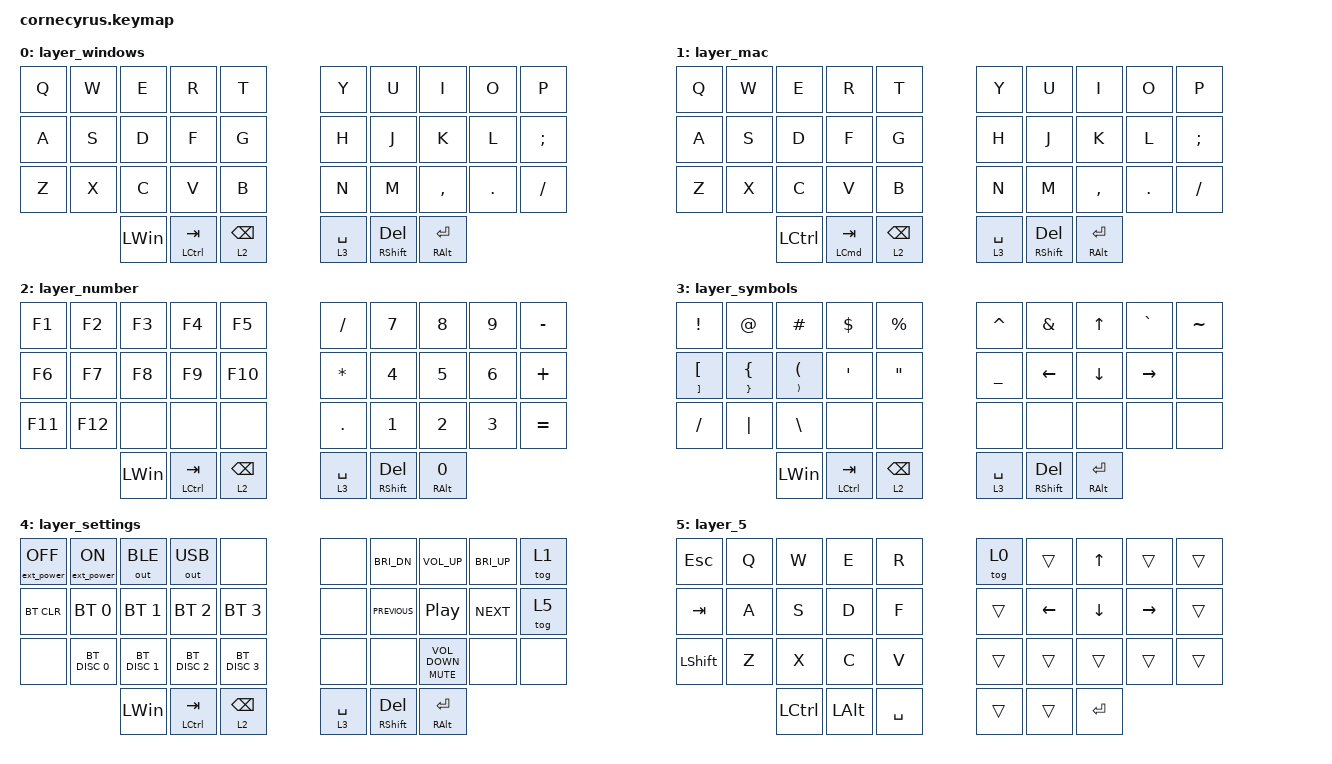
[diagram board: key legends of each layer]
#include <behaviors.dtsi>
#include <dt-bindings/zmk/bt.h>
#include <dt-bindings/zmk/ext_power.h>
#include <dt-bindings/zmk/keys.h>
#include <dt-bindings/zmk/outputs.h>

/ {
    combos {
        compatible = "zmk,combos";

        layer3andescape {
            bindings = <&lt 4 ESCAPE>;
            key-positions = <32 33>;
        };

        shift {
            bindings = <&kp LEFT_SHIFT>;
            key-positions = <31 32>;
        };
    };

    keymap {
        compatible = "zmk,keymap";

        layer_windows {
            bindings = <
&kp Q  &kp W  &kp E         &kp R                 &kp T              &kp Y        &kp U                   &kp I                &kp O    &kp P
&kp A  &kp S  &kp D         &kp F                 &kp G              &kp H        &kp J                   &kp K                &kp L    &kp SEMI
&kp Z  &kp X  &kp C         &kp V                 &kp B              &kp N        &kp M                   &kp COMMA            &kp DOT  &kp FSLH
              &kp LEFT_WIN  &mt LEFT_CONTROL TAB  &lt 2 BACKSPACE    &lt 3 SPACE  &mt RIGHT_SHIFT DELETE  &mt RIGHT_ALT ENTER
            >;
        };

        layer_mac {
            bindings = <
&kp Q  &kp W  &kp E             &kp R                 &kp T              &kp Y        &kp U                   &kp I                &kp O    &kp P
&kp A  &kp S  &kp D             &kp F                 &kp G              &kp H        &kp J                   &kp K                &kp L    &kp SEMI
&kp Z  &kp X  &kp C             &kp V                 &kp B              &kp N        &kp M                   &kp COMMA            &kp DOT  &kp FSLH
              &kp LEFT_CONTROL  &mt LEFT_COMMAND TAB  &lt 2 BACKSPACE    &lt 3 SPACE  &mt RIGHT_SHIFT DELETE  &mt RIGHT_ALT ENTER
            >;
        };

        layer_number {
            bindings = <
&kp F1   &kp F2   &kp F3        &kp F4                &kp F5             &kp FSLH     &kp N7                  &kp N8            &kp N9  &kp MINUS
&kp F6   &kp F7   &kp F8        &kp F9                &kp F10            &kp STAR     &kp N4                  &kp N5            &kp N6  &kp PLUS
&kp F11  &kp F12  &none         &none                 &none              &kp DOT      &kp N1                  &kp N2            &kp N3  &kp EQUAL
                  &kp LEFT_WIN  &mt LEFT_CONTROL TAB  &lt 2 BACKSPACE    &lt 3 SPACE  &mt RIGHT_SHIFT DELETE  &mt RIGHT_ALT N0
            >;
        };

        layer_symbols {
            bindings = <
&kp EXCLAMATION                 &kp AT_SIGN                 &kp HASH                                &kp DOLLAR            &kp PERCENT          &kp CARET    &kp AMPERSAND           &kp UP_ARROW         &kp GRAVE        &kp TILDE
&mt RIGHT_BRACKET LEFT_BRACKET  &mt RIGHT_BRACE LEFT_BRACE  &mt RIGHT_PARENTHESIS LEFT_PARENTHESIS  &kp SINGLE_QUOTE      &kp DOUBLE_QUOTES    &kp UNDER    &kp LEFT_ARROW          &kp DOWN_ARROW       &kp RIGHT_ARROW  &none
&kp SLASH                       &kp PIPE                    &kp BACKSLASH                           &none                 &none                &none        &none                   &none                &none            &none
                                                            &kp LEFT_WIN                            &mt LEFT_CONTROL TAB  &lt 2 BACKSPACE      &lt 3 SPACE  &mt RIGHT_SHIFT DELETE  &mt RIGHT_ALT ENTER
            >;
        };

        layer_settings {
            bindings = <
&ext_power EP_OFF  &ext_power EP_ON  &out OUT_BLE   &out OUT_USB          &none              &none        &kp C_BRI_DN            &kp C_VOLUME_UP           &kp C_BRI_UP  &tog 1
&bt BT_CLR         &bt BT_SEL 0      &bt BT_SEL 1   &bt BT_SEL 2          &bt BT_SEL 3       &none        &kp C_PREVIOUS          &kp C_PLAY_PAUSE          &kp C_NEXT    &tog 5
&none              &bt BT_DISC 0     &bt BT_DISC 1  &bt BT_DISC 2         &bt BT_DISC 3      &none        &none                   &mt C_MUTE C_VOLUME_DOWN  &none         &none
                                     &kp LEFT_WIN   &mt LEFT_CONTROL TAB  &lt 2 BACKSPACE    &lt 3 SPACE  &mt RIGHT_SHIFT DELETE  &mt RIGHT_ALT ENTER
            >;
        };

        layer_5 {
            bindings = <
&kp ESC    &kp Q  &kp W             &kp E         &kp R        &tog 0  &trans          &kp UP_ARROW    &trans           &trans
&kp TAB    &kp A  &kp S             &kp D         &kp F        &trans  &kp LEFT_ARROW  &kp DOWN_ARROW  &kp RIGHT_ARROW  &trans
&kp LSHFT  &kp Z  &kp X             &kp C         &kp V        &trans  &trans          &trans          &trans           &trans
                  &kp LEFT_CONTROL  &kp LEFT_ALT  &kp SPACE    &trans  &trans          &kp ENTER
            >;
        };
    };
};
